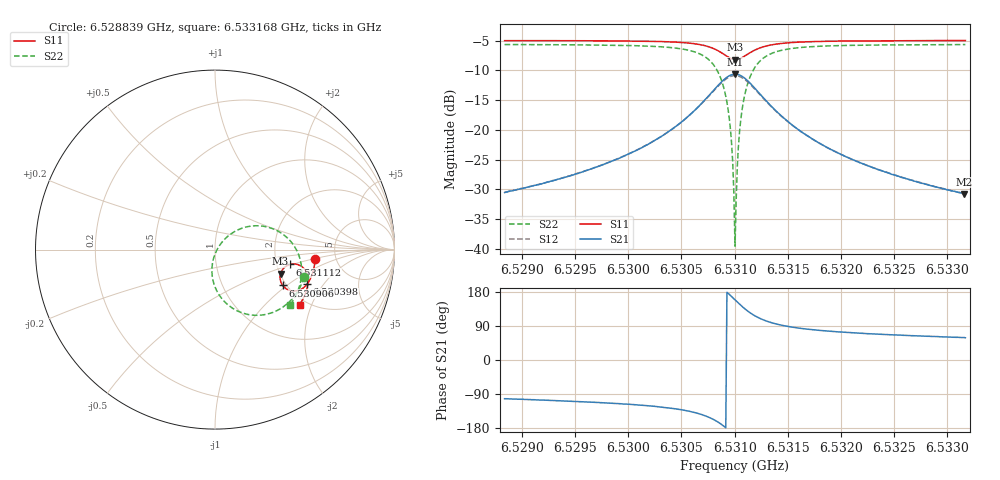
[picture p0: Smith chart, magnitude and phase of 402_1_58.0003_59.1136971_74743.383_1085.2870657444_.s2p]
#  HZ  S  RI  R  50.00
! Rohde & Schwarz Vector Network Analyzer
! Rohde-Schwarz,ZNB20-2Port,1311601062101988,3.16
! Created: UTC 3/21/2024, 1:08:16 AM
! freq[Hz]  re:S11  im:S11  re:S21  im:S21  re:S12  im:S12  re:S22  im:S22
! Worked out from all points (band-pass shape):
!   401 points, 6.528839 GHz to 6.533168 GHz, reference 50 ohm
!   highest |S21| = -10.64 dB at 6.531004 GHz (marker M1); lowest = -30.8 dB at 6.533158 GHz (marker M2)
!   |S21| within 3 dB of the highest: 6.530789 GHz to 6.531221 GHz (432.7 kHz wide, 0.00663 % of centre)
!   lowest |S11| = -8.2 dB at 6.531004 GHz (marker M3), VSWR 2.27, Z = 101 - j31.8 ohm
!   |S11| at or under -10 dB: nowhere
!   |S22| runs from -39.5 to -5.7 dB; largest |S21 - S12| = 0.011
!   S11 on the Smith chart (normalised r, x): 6.528839 GHz: 3.48, -0.50; 6.530398 GHz: 2.55, -1.40; 6.530906 GHz: 1.91, -0.93; 6.531112 GHz: 2.37, -0.48; 6.533168 GHz: 1.82, -1.65
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6.528839e9  0.5589 -0.0497  -0.00627 -0.0291  -0.00684 -0.0291  0.4976 -0.1526
6.5295642e9  0.5495 -0.1093  -0.0152 -0.0414  -0.0161 -0.0412  0.4685 -0.219
6.5302893e9  0.5222 -0.1797  -0.0473 -0.0715  -0.0491 -0.0703  0.3908 -0.3113
6.5303976e9  0.5132 -0.1925  -0.0596 -0.0793  -0.0618 -0.0775  0.3645 -0.3296
6.5307439e9  0.4468 -0.2307  -0.1617 -0.0955  -0.1638 -0.0891  0.1718 -0.3585
6.5308414e9  0.4062 -0.2234  -0.2246 -0.0672  -0.2236 -0.0582  0.0654 -0.3021
6.5309063e9  0.3775 -0.1998  -0.2668 -0.0171  -0.2619 -0.00798  0.00141 -0.2112
6.5309496e9  0.365 -0.1736  -0.2826 0.0334  -0.2746 0.0411  -0.0172 -0.1244
6.5309712e9  0.3626 -0.1579  -0.2834 0.0622  -0.2745 0.0685  -0.014 -0.0768
6.5309821e9  0.3627 -0.1498  -0.2819 0.0769  -0.2723 0.0821  -0.00921 -0.053
6.5309929e9  0.3637 -0.1418  -0.2786 0.0916  -0.2689 0.0959  -0.00158 -0.0294
6.5310037e9  0.3656 -0.1338  -0.2741 0.1058  -0.2641 0.1093  0.00821 -0.00662
6.5310254e9  0.3718 -0.1188  -0.2608 0.1326  -0.2508 0.1343  0.0342 0.0354
6.5310362e9  0.3761 -0.1119  -0.2522 0.1447  -0.2425 0.1457  0.05 0.0541
6.5310578e9  0.3864 -0.0999  -0.2325 0.1657  -0.2235 0.1653  0.086 0.0857
6.5311119e9  0.4181 -0.0824  -0.1746 0.1973  -0.1685 0.1947  0.1864 0.1286
6.5311877e9  0.4591 -0.0828  -0.1025 0.2002  -0.0991 0.1973  0.3087 0.1209
6.5312959e9  0.4948 -0.1048  -0.0398 0.1708  -0.0383 0.1694  0.4111 0.0575
6.5317289e9  0.5192 -0.1835  0.0145 0.0827  0.0156 0.0824  0.483 -0.1286
6.5324541e9  0.4991 -0.2556  0.017 0.0397  0.0176 0.0394  0.4555 -0.2446
6.5331576e9  0.4718 -0.3074  0.0148 0.0249  0.0154 0.0247  0.421 -0.3056
6.5331684e9  0.4716 -0.3081  0.015 0.0248  0.0154 0.0246  0.4204 -0.3065
